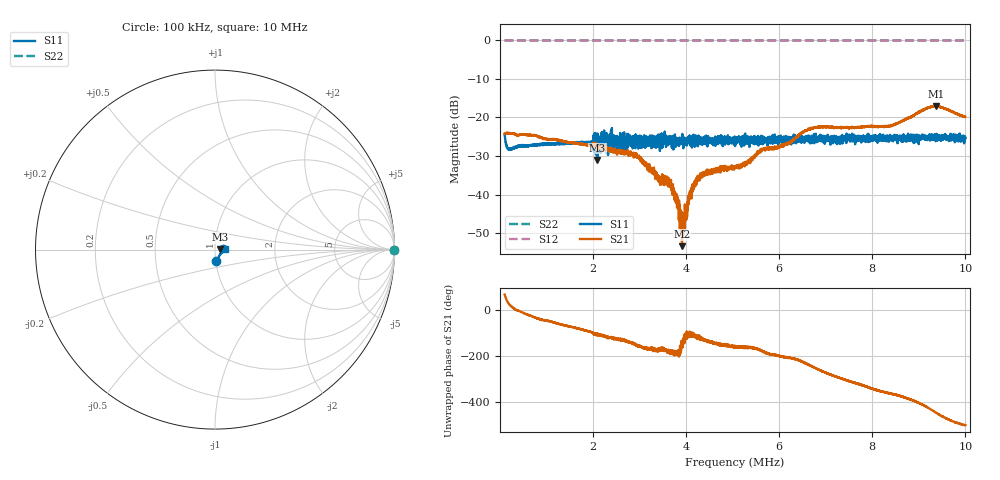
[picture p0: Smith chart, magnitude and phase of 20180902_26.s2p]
! Anritsu VNA Master:  Model: MS2026C/19
! SN:  1815009
! /card0/usr/20180902_26.s2p
! Existing Calibration Information:
! TYPE:  Current Settings,  Active Cal Settings
! TIME:  09/02/2018 06:08:28 PM,  09/02/2018 11:58:48 AM
! INTERNAL TEMP:  47.3 C,  48.8 C
! # POINTS:  4001,  4001
! START FREQ:  100.000 kHz,  100.000 kHz
! STOP FREQ:  10.000 MHz,  10.000 MHz
! SOURCE POWER:  Low,  Low
! IFBW:  500 Hz,  500 Hz
! AVG FACTOR:  5 ,  1
! REF PLANE 1:  0 mm,  0 mm
! REF PLANE 2:  0 mm,  0 mm
! CAL TYPE:  1P2P S11,S21,  1P2P S11,S21
! CAL METHOD:  SOLT,  SOLT
! CAL LINE TYPE:  Coax,  Coax
! DUT PORT 1:  N-Conn(M),  N-Conn(M)
! DUT PORT 2:  N-Conn(M),  N-Conn(M)
! CAL STATUS:  OK: Accuracy High,  --
# GHZ S RI R 50.0
! FREQ.GHZ  S11RE  S11IM  S21RE  S21IM  S12RE  S12IM  S22RE  S22IM
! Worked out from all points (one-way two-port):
!   4001 points, 100 kHz to 10 MHz, reference 50 ohm
!   highest |S21| = -17.03 dB at 9.366 MHz (marker M1); lowest = -53.4 dB at 3.912 MHz (marker M2)
!   lowest |S11| = -31.0 dB at 2.095 MHz (marker M3), VSWR 1.06, Z = 52.9 + j0.25 ohm
!   |S11| at or under -10 dB: start of sweep to end of sweep
!   |S22| runs from 0.0 to 0.0 dB; largest |S21 - S12| = 1.1
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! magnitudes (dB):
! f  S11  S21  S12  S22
! 100 kHz  -24.3  -24.2  0.0  0.0
! 164.3 kHz  -27.9  -24.1  0.0  0.0
! 216.3 kHz  -28.2  -24.1  0.0  0.0
! 1.751 MHz  -26.5  -26.9  0.0  0.0
! 2.095 MHz  -31.0  -27.5  0.0  0.0
! 2.904 MHz  -25.3  -29.6  0.0  0.0
! 3.402 MHz  -26.3  -35.5  0.0  0.0
! 3.58 MHz  -27.0  -35.8  0.0  0.0
! 3.671 MHz  -24.8  -37.3  0.0  0.0
! 3.805 MHz  -26.3  -43.4  0.0  0.0
! 3.912 MHz  -25.0  -53.4  0.0  0.0
! 3.959 MHz  -27.1  -44.8  0.0  0.0
! 4.129 MHz  -25.2  -37.5  0.0  0.0
! 4.283 MHz  -25.8  -35.3  0.0  0.0
! 5.05 MHz  -25.2  -32.8  0.0  0.0
! 5.295 MHz  -24.9  -32.3  0.0  0.0
! 5.644 MHz  -27.0  -28.3  0.0  0.0
! 6.193 MHz  -25.4  -26.6  0.0  0.0
! 6.701 MHz  -26.6  -22.8  0.0  0.0
! 8.352 MHz  -25.4  -22.2  0.0  0.0
! 9.366 MHz  -25.1  -17.0  0.0  0.0
! 10 MHz  -25.4  -19.8  0.0  0.0
